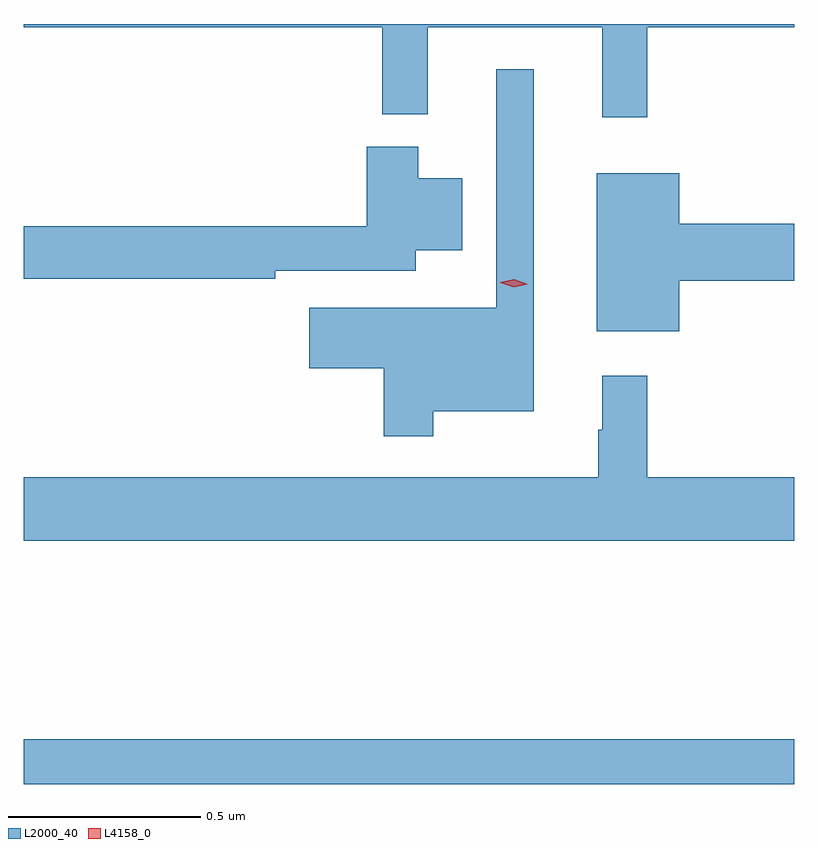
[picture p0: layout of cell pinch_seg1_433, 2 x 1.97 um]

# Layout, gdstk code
import gdstk
lib = gdstk.Library(unit=1e-6, precision=1e-09)
def R(c, l, rs):  # rectangles x0, y0, x1, y1
    for r in rs: c.add(gdstk.rectangle(r[:2], r[2:], *l))
def P(c, l, *ps):  # polygons
    for p in ps: c.add(gdstk.Polygon(p, *l))
L2000_40 = (2000, 40)
L4158_0 = (4158, 0)

pinch_seg1_433 = lib.new_cell('pinch_seg1_433')
R(pinch_seg1_433, L2000_40, [(926.136,540.444,928.136,540.56)])
P(pinch_seg1_433, L2000_40, [(927.755,542.408),(928.136,542.408),(928.136,542.417),(926.136,542.417),(926.136,542.408),(927.067,542.408),(927.067,542.183),(927.185,542.183),(927.185,542.408),(927.638,542.408),(927.638,542.175),(927.755,542.175)],
  [(927.199,541.412),(927.46,541.412),(927.46,542.299),(927.363,542.299),(927.363,541.681),(926.877,541.681),(926.877,541.523),(927.07,541.523),(927.07,541.347),(927.199,541.347)],
  [(926.789,541.776),(927.154,541.776),(927.154,541.829),(927.274,541.829),(927.274,542.017),(927.16,542.017),(927.16,542.098),(927.026,542.098),(927.026,541.892),(926.136,541.892),(926.136,541.756),(926.789,541.756)],
  [(927.838,541.751),(928.136,541.751),(928.136,541.898),(927.838,541.898),(927.838,542.029),(927.623,542.029),(927.623,541.619),(927.838,541.619)],
  [(928.136,541.24),(927.755,541.24),(927.755,541.504),(927.638,541.504),(927.638,541.364),(927.627,541.364),(927.627,541.24),(926.136,541.24),(926.136,541.076),(928.136,541.076)])
P(pinch_seg1_433, L4158_0, [(927.408,541.734),(927.373,541.745),(927.373,541.746),(927.373,541.746),(927.409,541.754),(927.444,541.742),(927.444,541.742),(927.444,541.742)])

lib.write_gds('pinch_seg1_433.gds')
